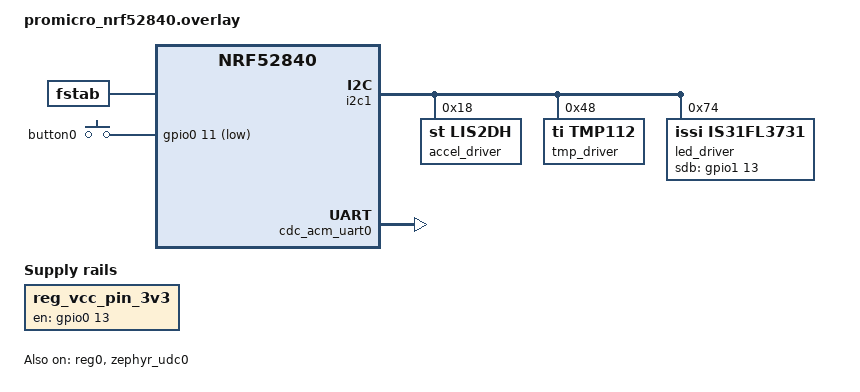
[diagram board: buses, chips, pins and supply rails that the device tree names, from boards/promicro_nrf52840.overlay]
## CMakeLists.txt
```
# Copyright (c) 2026 Golioth, Inc.
#
# SPDX-License-Identifier: Apache-2.0

cmake_minimum_required(VERSION 3.20.0)

# micro-ROS module location: default = the NCS workspace checkout next to
# this app. Set MICROROS_ZEPHYR_MODULE_PATH to the micro_ros_zephyr_module
# ROOT to build against another workspace (e.g. the pure-Zephyr 4.4 one);
# libmicroros (the Zephyr module) is a subdir of the root.
# NOTE: promicro_nrf52840 needs no BOARD_ROOT — upstream Zephyr 4.4
# carries the board at boards/others/promicro_nrf52840.
if(DEFINED ENV{MICROROS_ZEPHYR_MODULE_PATH})
  set(MICROROS_MODULE_ROOT $ENV{MICROROS_ZEPHYR_MODULE_PATH})
else()
  set(MICROROS_MODULE_ROOT ${CMAKE_CURRENT_SOURCE_DIR}/../deps/modules/lib/micro_ros_zephyr_module)
endif()

list(APPEND ZEPHYR_EXTRA_MODULES
  ${CMAKE_CURRENT_SOURCE_DIR}/modules/tikk-led-matrix
  ${MICROROS_MODULE_ROOT}/modules/libmicroros
)

find_package(Zephyr REQUIRED HINTS $ENV{ZEPHYR_BASE})
project(tikk_liquid_microros)

# Zephyr compiles C sources with -std=c17 (strict), under which picolibc
# hides its POSIX surface (clockid_t, the clock_gettime() prototype,
# CLOCK_MONOTONIC) behind feature-test macros. The app's clock shim
# (src/posix_clock.c) and the micro-ROS publisher timestamps (src/main.c)
# need them. Scoped to OUR sources only — this must not leak into other
# modules (mbedtls et al.), which is why the Zephyr-wide POSIX System
# Interfaces routing stays off (see prj.conf).
target_compile_definitions(app PRIVATE
  _POSIX_C_SOURCE=200809L
  _POSIX_MONOTONIC_CLOCK=200809L
)

target_sources(app PRIVATE
  src/main.c
  src/nrf52840_power.c
  src/pouch_setup.c
  src/credentials.c
  src/fw_update.c
  src/posix_clock.c
)
```

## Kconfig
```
# Copyright (c) 2026 Golioth, Inc.
#
# SPDX-License-Identifier: Apache-2.0

mainmenu "Tikk liquid tilt display (micro-ROS)"

# App Kconfig replaces the default root — MUST source Zephyr's chain
# (which also pulls in all module Kconfigs via Kconfig.modules).
source "Kconfig.zephyr"

menu "Tikk liquid tilt display"

config TIKK_TEMP_PUBLISHER
	bool "Publish TMP102 temperature on /temp"
	default y
	help
	  Publishes std_msgs/Float32 (deg C) on /temp at 1 Hz from the
	  TMP102 on the Tikk add-on board. This is the OTA demo's "after"
	  payload: the "before" firmware is built with this OFF, the OTA
	  update delivers a build with it ON.

config EXAMPLE_CREDENTIALS_DIR
	string "Directory containing credentials"
	default "/lfs1/credentials"
	help
	  Directory on mounted file system containing the pouch device
	  certificate (crt.der) and private key (key.der), provisioned via
	  MCUmgr/smpmgr.

endmenu
```

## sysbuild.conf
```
# Enable MCUboot as the bootloader image (sysbuild builds mcuboot + app).
# OTA demo requirement: the app must boot from slot 0 under mcuboot so a
# pouch-delivered image can swap in from slot 1.
SB_CONFIG_BOOTLOADER_MCUBOOT=y
```

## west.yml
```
# NOTE (release prep): this manifest captures the older NCS-based flow
# (nrf v3.0.1). The README documents the current, build-verified pure
# Zephyr 4.4 flow (see "Workspace & build (pure Zephyr 4.4)"). A refreshed
# 4.4 manifest is intentionally left out of the release-prep PR.
#
# Tikk micro-ROS liquid tilt display
#
# Workspace layout mirrors tikk-fleet:
#   ~/golioth/microros/          <- workspace root (.venv, .west, deps/, build/)
#   app/                         <- this repo (the application)
#
# Revisions match tikk-fleet (known-good on this machine):
#   nrf v3.0.1 -> zephyr v4.0.99-ncs1-1 (NCS fork)
#
manifest:
  version: 1.0

  projects:
    - name: nrf
      revision: v3.0.1
      url: https://github.com/nrfconnect/sdk-nrf
      import:
        path-prefix: deps

    - name: is31fl3731
      revision: v1.0.0
      url: git@github.com:golioth/led-driver-is31fl3731.git
      path: deps/modules/lib/is31fl3731

    - name: pixel_font
      revision: f180302aa6199cc4b33b36b7d14b83893ea24898
      url: https://github.com/rzodkiem/Adek_wyswietlacz
      path: deps/modules/lib/pixel_font

    # micro-ROS Zephyr port (kilted branch, tested vs Zephyr 4.0.0/4.1.0)
    - name: micro_ros_zephyr_module
      revision: 229ffc0e131ee7942db3bb2e731fb8851583bb25
      url: https://github.com/micro-ROS/micro_ros_zephyr_module
      path: deps/modules/lib/micro_ros_zephyr_module

    # Golioth pouch — v0.2.0 release (the revision the current Connect
    # Agent pairs with; the old pre-v0.1.0 pin advertised a 128-bit
    # service UUID the v0.2-era gateway does not scan for).
    # NOTE: v0.2.0's own west-ncs.yml pins nrf v3.4-branch, which would
    # conflict with our explicit nrf v3.0.1 above — so NO import here;
    # our nrf project provides the NCS tree. (v0.2.0's "supported" Zephyr
    # is v4.4; we run 4.0.99-ncs1-1 — build-verified empirically.)
    - name: pouch
      revision: v0.2.0
      url: https://github.com/golioth/pouch
      path: deps/modules/lib/pouch
      submodules: true

    # NXP HAL — required to build the pouch gateway sample for
    # frdm_rw612 (the NCS west-ncs.yml import filters hal_nxp out, so it
    # must be explicit). Revision pinned to what our zephyr 4.0.99 expects.
    - name: hal_nxp
      revision: 0ac830233092247c26f5dd01a07b0a484532ea4c
      url: https://github.com/zephyrproject-rtos/hal_nxp
      path: deps/modules/hal/nxp

  self:
    path: app
```

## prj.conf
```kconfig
# Tikk liquid tilt display — lean app (no pouch/BT/mcuboot)
#
# Accel -> wave sim -> LED matrix, plus micro-ROS tilt publisher over USB-CDC.

CONFIG_I2C=y
CONFIG_SENSOR=y
CONFIG_LED=y

CONFIG_TIKK_LED_MATRIX=y

# float printf support for bring-up logs
CONFIG_CBPRINTF_FP_SUPPORT=y

# SPIKE (pouch stage): picolibc instead of newlib — pouch requires picolibc.
# Testing whether libmicroros rebuilds cleanly against it with a fresh
# colcon cache (previous Annex K __errno_t failure may have been stale cache).
CONFIG_PICOLIBC=y

CONFIG_REGULATOR=y

# --- OTA image management (pouch OTA swaps via mcuboot) ---

CONFIG_FLASH=y
CONFIG_FLASH_MAP=y
CONFIG_IMG_MANAGER=y
CONFIG_IMG_ERASE_PROGRESSIVELY=y
CONFIG_STREAM_FLASH=y

# --- Pouch (Golioth over BLE GATT) + OTA ---

CONFIG_BT=y
CONFIG_BT_SMP=y
CONFIG_BT_PERIPHERAL=y
CONFIG_BT_DEVICE_NAME="Tikk micro-ROS"
CONFIG_BT_DEVICE_APPEARANCE=768

CONFIG_BT_BUF_ACL_TX_SIZE=251
CONFIG_BT_BUF_ACL_RX_SIZE=251
CONFIG_BT_L2CAP_TX_MTU=247

# This is needed due to an off-by-one error in Kconfig defaults
CONFIG_BT_CTLR_DATA_LENGTH_MAX=251

CONFIG_BT_RX_STACK_SIZE=4096

CONFIG_MAIN_STACK_SIZE=4096

CONFIG_MBEDTLS_HEAP_SIZE=9192

# This option is implied by BT_SMP and breaks secp384r1 support
CONFIG_MBEDTLS_PSA_P256M_DRIVER_ENABLED=n

# Per pouch v0.2.0 example: allow centrals that lose bond info to
# re-pair (the gateway must be able to pair across device resets/changes)
CONFIG_BT_SMP_ALLOW_UNAUTH_OVERWRITE=y

# Turn off default options to reduce ROM usage
CONFIG_MBEDTLS_PKCS5_C=n

# No MBEDTLS_LEGACY_CRYPTO_C here: that Kconfig is NCS-only (gates the
# legacy crypto API surface in Nordic's fork). Pure Zephyr 4.4 uses
# vanilla mbedtls/tf-psa-crypto, which provides the raw EC APIs that
# pouch v0.2.0's src/cert.c needs (mbedtls_pk_ec et al.) — proven by
# the DK reference build completing its cert upload on 4.4.

CONFIG_LOG=y
CONFIG_ZCBOR=y
CONFIG_REBOOT=y

CONFIG_POUCH=y
CONFIG_POUCH_TRANSPORT_BLE_GATT=y

CONFIG_GOLIOTH=y
CONFIG_GOLIOTH_SETTINGS=y
CONFIG_GOLIOTH_OTA=y

# --- Credentials on LittleFS (provisioned via mcumgr over the console) ---

CONFIG_FLASH_PAGE_LAYOUT=y
CONFIG_FILE_SYSTEM=y
CONFIG_FILE_SYSTEM_LITTLEFS=y

CONFIG_MCUMGR=y
CONFIG_MCUMGR_TRANSPORT_SHELL=y

# The shell SMP transport depends on BASE64 — pouch <= pre-v0.2.0 used to
# 'select BASE64' itself; v0.2.0 dropped that, and without this line the
# whole MCUMGR_TRANSPORT_SHELL block silently vanishes (no 'mcumgr' shell
# command, smpmgr timeouts). Bit us once.
CONFIG_BASE64=y

# fs shell commands (ls/cat) — for inspecting /lfs1 from the console
CONFIG_FILE_SYSTEM_SHELL=y
CONFIG_UART_CONSOLE_MCUMGR=y
CONFIG_CRC=y
CONFIG_MCUMGR_GRP_OS=y
CONFIG_MCUMGR_GRP_OS_MCUMGR_PARAMS=y
CONFIG_MCUMGR_GRP_FS=y
CONFIG_MCUMGR_GRP_FS_FILE_ACCESS_HOOK=y
CONFIG_SHELL=y

# --- micro-ROS over USB CDC ACM ---

CONFIG_MICROROS=y
CONFIG_CPP=y
CONFIG_MICROROS_TRANSPORT_SERIAL_USB=y

# Two publishers: /tilt (10 Hz) and /temp (1 Hz, TMP102). This maps to
# RMW_UXRCE_MAX_PUBLISHERS in the libmicroros colcon build (requires a
# full colcon rebuild when changed — patches 0001/0002 flow handles it).
# NOTE: these MICROROS_* symbols are Kconfig STRINGS — quotes required.
CONFIG_MICROROS_PUBLISHERS="2"

CONFIG_SERIAL=y
CONFIG_UART_INTERRUPT_DRIVEN=y
CONFIG_UART_LINE_CTRL=y

# Let the micro-ROS transport's usb_enable() bring up USB. If USB comes up
# at boot instead, usb_enable() returns -EALREADY and the transport treats
# it as fatal ("Failed to enable USB") and the micro-ROS thread exits.
CONFIG_USB_DEVICE_INITIALIZE_AT_BOOT=n

# Zephyr 4.4 ships the new "device_next" USB stack alongside the legacy
# one. The zephyr,cdc-acm-uart node in the board overlay makes the new
# stack's CDC class default to y, and BOTH stacks then instantiate the
# same devicetree node -> __device_dts_ord_* multiply defined at link.
# The micro-ROS serial-usb transport selects the legacy stack
# (usb_enable() API); keep device_next off.
CONFIG_USB_DEVICE_STACK_NEXT=n

# POSIX_API is deliberately NOT set: with it, <arpa/inet.h> resolves to
# Zephyr's POSIX headers which don't define AF_INET6 without full
# NETWORKING — mbedtls x509 then calls libc inet_pton (unimplemented on
# picolibc) and the link fails. Without POSIX_API, AF_INET6 comes from
# picolibc's headers and mbedtls uses its own software parser. The demo
# app (tikk-pouch-demo) links the same stack with POSIX_API off.
# clock_gettime/CLOCK_REALTIME for the micro-ROS publisher timestamps.
# Zephyr 4.4 re-parented POSIX_TIMERS under the "POSIX System Interfaces"
# umbrella; enabling that routes <time.h>/<unistd.h>/... to Zephyr's
# include/zephyr/posix headers (-I on every TU), which shadow the libc's
# own POSIX declarations and broke the colcon build of rcutils (implicit
# isatty/fork/execvp under gcc >= 14) — the same header-routing family
# as the CONFIG_POSIX_API trap documented below. All POSIX header
# routing stays OFF on 4.4: the app provides the clock functions that
# micro-ROS needs in src/posix_clock.c (mirroring zephyr's own
# lib/posix/options/clock.c on the kernel sys_clock_* API), and
# picolibc's <time.h> supplies the declarations by default.

CONFIG_MAIN_STACK_SIZE=4096
```

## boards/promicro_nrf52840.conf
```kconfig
CONFIG_LOG_BACKEND_UART=y

# Run nrf52840_power.c at init (bumps REGOUT0 to 3.0V when USB powered)
CONFIG_BOARD_EARLY_INIT_HOOK=y

# No bootloader: link app at 0x0 for direct boot (no MBR/MCUboot offset).
# Same as tikk-fleet apps; the default y places app at 0x1000 behind an MBR
# that this build never actually includes.
CONFIG_BOARD_HAS_NRF5_BOOTLOADER=n

# Add-on board VCC rail switch
CONFIG_REGULATOR=y
```

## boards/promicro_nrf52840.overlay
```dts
/*
 * Tikk add-on board hardware (from tikk-fleet tikk-pouch-demo overlay):
 *   - I2C1 on P1.06 (SDA) / P1.04 (SCL)
 *   - LIS2DH accelerometer @ 0x18
 *   - IS31FL3731 LED matrix driver @ 0x74 (SDB pin on P1.13)
 *   - TMP102 temp sensor @ 0x48 (ti,tmp112 driver; the OTA "after" state
 *     publishes its readings on /temp)
 *   - Add-on VCC power rail switch on P0.13 (regulator, on at boot)
 *
 * Stripped vs tikk-pouch-demo: buttons, longpress, littlefs.
 */

/* MCUboot flash layout (64 KB boot; storage kept at 0xf8000 so the
 * provisioned credentials survive a bootloader+app reflash). Shared
 * with sysbuild/mcuboot.overlay so both images agree on the map. The
 * plain (non-sysbuild) build is unaffected: it links at 0x0 and only
 * touches storage_partition, whose address is unchanged. */
#include "../sysbuild/flash-layout.dtsi"

/ {

	reg_vcc_pin_3v3: reg-vcc-pin-3v3 {
		compatible = "regulator-fixed";
		regulator-name = "reg-vcc-pin-3v3";
		enable-gpios = <&gpio0 13 GPIO_ACTIVE_HIGH>;
		regulator-boot-on;
	};

	fstab {
		compatible = "zephyr,fstab";
		lfs1: lfs1 {
			compatible = "zephyr,fstab,littlefs";
			mount-point = "/lfs1";
			partition = <&storage_partition>;
			automount;
			read-size = <16>;
			prog-size = <16>;
			cache-size = <64>;
			lookahead-size = <32>;
			block-cycles = <512>;
		};
	};

	buttons {
		compatible = "gpio-keys";

		button0: button_0 {
			gpios = <&gpio0 11 (GPIO_PULL_UP | GPIO_ACTIVE_LOW)>;
			zephyr,code = <INPUT_KEY_0>;
		};
	};

	aliases {
		sw0 = &button0;
	};
};

&reg0 {
	status = "okay";
};

&i2c0 {
	status = "disabled";
};

&i2c1 {
	status = "okay";

	accel_driver: lis2dh@18 {
		compatible = "st,lis2dh";
		reg = <0x18>;
	};

	tmp_driver: tmp102@48 {
		compatible = "ti,tmp112";
		reg = <0x48>;
	};

	led_driver: is31fl3731@74 {
		compatible = "issi,is31fl3731";
		reg = <0x74>;
		sdb-gpios = <&gpio1 13 GPIO_ACTIVE_HIGH>;
	};
};

&pinctrl {
	i2c1_default: i2c1_default {
		group1 {
			psels = <NRF_PSEL(TWIM_SDA, 1, 6)>,
				<NRF_PSEL(TWIM_SCL, 1, 4)>;
			bias-pull-up;
		};
	};

	i2c1_sleep: i2c1_sleep {
		group1 {
			psels = <NRF_PSEL(TWIM_SDA, 1, 6)>,
				<NRF_PSEL(TWIM_SCL, 1, 4)>;
			low-power-enable;
		};
	};
};

/* USB device (nRF52 USBD) for the micro-ROS CDC ACM transport */
&zephyr_udc0 {
	status = "okay";

	cdc_acm_uart0: cdc_acm_uart0 {
		compatible = "zephyr,cdc-acm-uart";
		label = "CDC_ACM_0";
	};
};
```

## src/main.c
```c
/*
 * Tikk liquid tilt display
 *
 * LIS2DH tilt drives a top-down "pool" of liquid on the 9x16 IS31FL3731
 * LED matrix. The wave height field is pulled toward a tilt-defined
 * equilibrium plane, so the water pools toward the low side, sloshes on
 * fast tilts, and settles calm when the board is flat (with a gentle
 * ambient shimmer — binary displays do sparkle, not brightness).
 *
 * Single-threaded by design (micro-ROS publisher thread runs separately).
 */

#include <zephyr/kernel.h>
#include <zephyr/device.h>
#include <zephyr/drivers/sensor.h>
#include <zephyr/sys/printk.h>

#include "tikk_led_matrix.h"

#include "fw_update.h"

#ifdef CONFIG_MICROROS
#include <version.h>
#if ZEPHYR_VERSION_CODE >= ZEPHYR_VERSION(4, 4, 0)
/* Zephyr 4.4 renamed <zephyr/posix/time.h> -> <zephyr/posix/posix_time.h>.
 * picolibc's <time.h> (SDK 1.0.1) exposes clock_gettime + CLOCK_REALTIME
 * under its default visibility; the implementation lives in
 * src/posix_clock.c (see prj.conf: no POSIX header routing on 4.4). */
#include <time.h>
#else
#include <zephyr/posix/time.h> /* clock_gettime + CLOCK_REALTIME (picolibc's
				* <time.h> hides POSIX names without
				* _POSIX_C_SOURCE, which we no longer set) */
#endif
#include <rcl/rcl.h>
#include <rcl/error_handling.h>
#include <rclc/rclc.h>
#include <rclc/executor.h>
#include <rmw_microros/rmw_microros.h>
#include <microros_transports.h>
#include <geometry_msgs/msg/vector3_stamped.h>
#include <std_msgs/msg/float32.h>

#define MICROROS_PUBLISH_MS 100 /* 10 Hz */
#define MICROROS_THREAD_STACK 24576
#define MICROROS_THREAD_PRIO 5
#endif

/* Sim grid = the PHYSICAL display: 7x15 of the IS31FL3731's 9x16 matrix
 * is populated (rows 0-6, cols 0-14). Simulating the full 9x16 put water
 * and meniscus in invisible regions. */
#define W 15
#define H 7

#define TICK_MS 50 /* 20 Hz display/sim rate */

/* Liquid tuning */
#define WAVE_K 0.00f      /* propagation stiffness — 0: no traveling waves */
#define WAVE_DAMP 0.80f   /* velocity RETENTION per tick — lower = settles
			  * faster, no ringing (0.97 rang for ~2s) */
#define PLANE_PULL 0.18f  /* how hard water is pulled toward the tilted plane */
#define PLANE_SCALE 0.35f /* floor tilt: full 1g => this much drop per cell */
#define SURF_THRESH 0.15f /* LED on when water depth above this */
#define WATER_LEVEL 0.13f /* TOTAL water volume = this x cell count. Flat =>
			  * uniform film everywhere; long side => ~2-row
			  * pool at the low edge (volume-conserving fill) */
#define WALL_CLING 0.35f  /* meniscus: how strongly water hugs edges/corners */
#define SHIMMER_PER_TICK 0   /* off: shimmer was a constant agitation source */
#define SHIMMER_AMP 0.04f    /* tiny — just enough to glimmer at rest */

/* Orientation mapping — flip signs at bring-up if water pools the wrong way */
#define AX_SIGN (-1.0f)
#define AY_SIGN (-1.0f)

/* Tilt low-pass: raw accel noise would jiggle the equilibrium plane and
 * keep the water perpetually agitated. Filter it. */
#define TILT_LP 0.3f

static float h[H][W];
static float v[H][W];

static const struct device *const accel = DEVICE_DT_GET_ANY(st_lis2dh);
static const struct device *const leds = DEVICE_DT_GET_ANY(issi_is31fl3731);

/* Latest filtered accel sample, shared with the micro-ROS publisher thread.
 * Torn reads are harmless for telemetry (values are low-passed already). */
static struct {
	float x;
	float y;
	float z;
} latest_accel;

#ifdef CONFIG_MICROROS
static rcl_publisher_t tilt_pub;
static geometry_msgs__msg__Vector3Stamped tilt_msg;

#ifdef CONFIG_TIKK_TEMP_PUBLISHER
/* TMP102 on the Tikk add-on (0x48, ti,tmp112 driver) — the OTA "after"
 * payload: readings published on /temp at 1 Hz. */
static const struct device *const tmp102 = DEVICE_DT_GET_ANY(ti_tmp112);
static rcl_publisher_t temp_pub;
static std_msgs__msg__Float32 temp_msg;
static uint32_t temp_div;
static bool temp_announced;

/* One-shot diagnostics — a permanently failing temp path must not be
 * silent (cost an hour of head-scratching once already). */
#define TEMP_ERR(msg)                                    \
	do {                                             \
		if (!temp_err_shown) {                   \
			printk("temp: " msg "\n");       \
			temp_err_shown = true;           \
		}                                        \
	} while (0)
static bool temp_err_shown;

static void publish_temp(void)
{
	struct sensor_value val;

	if (tmp102 == NULL || !device_is_ready(tmp102)) {
		TEMP_ERR("TMP102 not ready");
		return;
	}
	if (sensor_sample_fetch(tmp102) != 0) {
		TEMP_ERR("TMP102 sample fetch failed");
		return;
	}
	/* tmp112 driver exposes AMBIENT_TEMP (not DIE_TEMP) */
	if (sensor_channel_get(tmp102, SENSOR_CHAN_AMBIENT_TEMP, &val) != 0) {
		TEMP_ERR("TMP102 channel get failed");
		return;
	}
	temp_msg.data = (float)sensor_value_to_double(&val);
	rcl_publish(&temp_pub, &temp_msg, NULL);
	if (!temp_announced) {
		printk("TMP102 online: %.2f C\n", (double)temp_msg.data);
		temp_announced = true;
	}
}
#endif /* CONFIG_TIKK_TEMP_PUBLISHER */

static void tilt_timer_callback(rcl_timer_t *timer, int64_t last_call_time)
{
	RCLC_UNUSED(last_call_time);
	if (timer == NULL) {
		return;
	}

	/* While an OTA image downloads, fw_update owns the LED matrix
	 * (progress bar) and publishing stands down — CPU for the flash
	 * writes, plus a cleaner demo story. The timer keeps firing, so
	 * /tilt + /temp resume on their own when the download ends. */
	if (fw_downloading) {
		return;
	}

	struct timespec ts;
	clock_gettime(CLOCK_REALTIME, &ts);
	tilt_msg.header.stamp.sec = ts.tv_sec;
	tilt_msg.header.stamp.nanosec = ts.tv_nsec;
	tilt_msg.vector.x = latest_accel.x;
	tilt_msg.vector.y = latest_accel.y;
	tilt_msg.vector.z = latest_accel.z;

	rcl_publish(&tilt_pub, &tilt_msg, NULL);

#ifdef CONFIG_TIKK_TEMP_PUBLISHER
	/* /temp at 1 Hz (every 10th 10 Hz tick) */
	if (++temp_div >= 10) {
		temp_div = 0;
		publish_temp();
	}
#endif
}

#define RCCHECK(fn)                                                                        \
	{                                                                                  \
		rcl_ret_t rc = fn;                                                         \
		if (rc != RCL_RET_OK) {                                                    \
			printk("micro-ROS error %d at line %d\n", (int)rc, __LINE__);      \
			return;                                                            \
		}                                                                          \
	}

static void microros_thread(void)
{
	zephyr_transport_params_t transport_params = {0};

	printk("micro-ROS: connecting (plug in agent / open serial port)\n");

	rmw_uros_set_custom_transport(
		MICRO_ROS_FRAMING_REQUIRED,
		(void *)&transport_params,
		zephyr_transport_open,
		zephyr_transport_close,
		zephyr_transport_write,
		zephyr_transport_read);

	rcl_allocator_t allocator = rcl_get_default_allocator();
	rclc_support_t support;
	RCCHECK(rclc_support_init(&support, 0, NULL, &allocator));

	rcl_node_t node;
	RCCHECK(rclc_node_init_default(&node, "tikk_tilt", "", &support));

	RCCHECK(rclc_publisher_init_default(
		&tilt_pub,
		&node,
		ROSIDL_GET_MSG_TYPE_SUPPORT(geometry_msgs, msg, Vector3Stamped),
		"tilt"));

#ifdef CONFIG_TIKK_TEMP_PUBLISHER
	RCCHECK(rclc_publisher_init_default(
		&temp_pub,
		&node,
		ROSIDL_GET_MSG_TYPE_SUPPORT(std_msgs, msg, Float32),
		"temp"));
#endif

	rcl_timer_t timer;
	RCCHECK(rclc_timer_init_default(&timer, &support,
					RCL_MS_TO_NS(MICROROS_PUBLISH_MS),
					tilt_timer_callback));

	rclc_executor_t executor;
	RCCHECK(rclc_executor_init(&executor, &support.context, 1, &allocator));
	RCCHECK(rclc_executor_add_timer(&executor, &timer));

	printk("micro-ROS: publishing /tilt at %d ms\n", MICROROS_PUBLISH_MS);

	while (true) {
		rclc_executor_spin_some(&executor, RCL_MS_TO_NS(100));
		k_msleep(10);
	}
}

K_THREAD_DEFINE(microros_tid, MICROROS_THREAD_STACK,
		microros_thread, NULL, NULL, NULL,
		MICROROS_THREAD_PRIO, 0, 0);
#endif /* CONFIG_MICROROS */

static inline float clampf(float val, float lo, float hi)
{
	return val < lo ? lo : (val > hi ? hi : val);
}

/* cheap xorshift for ambient shimmer */
static uint32_t rng_state = 0x1234abcd;
static inline uint32_t rng_next(void)
{
	rng_state ^= rng_state << 13;
	rng_state ^= rng_state >> 17;
	rng_state ^= rng_state << 5;
	return rng_state;
}

static void ripple_at(int x, int y, float amp)
{
	if (x < 0 || x >= W || y < 0 || y >= H) {
		return;
	}
	v[y][x] -= amp;
}

/* tray floor heights + scratch buffer for the per-tick water-fill */
static float floors[H][W];
static float sorted_floors[H * W];

static void wave_step(float gx, float gy)
{
	/* Volume-conserving liquid: the tray floor tilts with gravity and a
	 * FIXED volume of water fills the lowest cells first (water-fill).
	 * Flat => uniform film covering the display; on its side => the same
	 * water pools at the low edge — pool size is set by WATER_LEVEL
	 * (total volume), not by tilt amount. */
	const float volume = (float)(W * H) * WATER_LEVEL;
	int count = 0;

	for (int y = 0; y < H; y++) {
		for (int x = 0; x < W; x++) {
			float dx = x - (W - 1) / 2.0f;
			float dy = y - (H - 1) / 2.0f;
			floors[y][x] = -PLANE_SCALE * (gx * dx + gy * dy);
			sorted_floors[count++] = floors[y][x];
		}
	}

	/* insertion sort ascending (105 cells at 20 Hz — trivial) */
	for (int i = 1; i < count; i++) {
		float key = sorted_floors[i];
		int j = i - 1;
		while (j >= 0 && sorted_floors[j] > key) {
			sorted_floors[j + 1] = sorted_floors[j];
			j--;
		}
		sorted_floors[j + 1] = key;
	}

	/* water-fill: raise the surface over the lowest cells until the fixed
	 * volume is used up; everything above the level stays dry */
	float cum = sorted_floors[0];
	float level = volume + cum;
	int k = 0;
	while (k < count - 1 && level > sorted_floors[k + 1]) {
		k++;
		cum += sorted_floors[k];
		level = (volume + cum) / (float)(k + 1);
	}

	/* relax toward (fill depth + meniscus), with momentum for slosh */
	for (int y = 0; y < H; y++) {
		for (int x = 0; x < W; x++) {
			float neigh = 0.0f;
			int c = 0;

			if (x > 0) { neigh += h[y][x - 1]; c++; }
			if (x < W - 1) { neigh += h[y][x + 1]; c++; }
			if (y > 0) { neigh += h[y - 1][x]; c++; }
			if (y < H - 1) { neigh += h[y + 1][x]; c++; }

			float lap = (neigh / (float)c) - h[y][x];

			float depth = level - floors[y][x];
			if (depth < 0.0f) {
				depth = 0.0f;
			}

			/* meniscus: water clings to tray walls — but only where
			 * water exists. Gated by the cell's own depth so dry
			 * border cells don't light as a phantom frame (ungated
			 * cling put a permanent 2-LED border around the display).
			 * At the waterline the gate ramps 0..1 over 0.10 depth,
			 * giving the concave corner climb where water is. */
			int d = x;
			if (W - 1 - x < d) { d = W - 1 - x; }
			if (y < d) { d = y; }
			if (H - 1 - y < d) { d = H - 1 - y; }
			float gate = depth * 10.0f;
			if (gate > 1.0f) {
				gate = 1.0f;
			}
			float eq = depth + gate * WALL_CLING / (1.0f + (float)d);

			v[y][x] = (v[y][x] + WAVE_K * lap + PLANE_PULL * (eq - h[y][x]))
				  * WAVE_DAMP;
		}
	}

	/* height update */
	for (int y = 0; y < H; y++) {
		for (int x = 0; x < W; x++) {
			h[y][x] += v[y][x];
		}
	}
}

static void render(void)
{
	/* full 9-row controller buffer; physical rows 7-8 left off */
	uint16_t fb9[9] = {0};

	for (int y = 0; y < H; y++) {
		for (int x = 0; x < W; x++) {
			if (h[y][x] > SURF_THRESH) {
				fb9[y] |= (uint16_t)(1 << x);
			}
		}
	}

	display_framebuffer(leds, fb9);
}

static int tick(void)
{
	static unsigned int ticks;
	struct sensor_value a[3];

	if (sensor_sample_fetch(accel) < 0) {
		return -EIO;
	}
	if (sensor_channel_get(accel, SENSOR_CHAN_ACCEL_XYZ, a) < 0) {
		return -EIO;
	}

	double ax = sensor_value_to_double(&a[0]);
	double ay = sensor_value_to_double(&a[1]);
	double az = sensor_value_to_double(&a[2]);

	latest_accel.x = (float)ax;
	latest_accel.y = (float)ay;
	latest_accel.z = (float)az;

	/* tilt direction -> slope of the equilibrium water plane (filtered:
	 * raw sensor noise never stops agitating the water) */
	static float fgx, fgy;
	float gx = clampf(AX_SIGN * (float)(ax / 9.81), -1.0f, 1.0f);
	float gy = clampf(AY_SIGN * (float)(ay / 9.81), -1.0f, 1.0f);
	fgx += (gx - fgx) * TILT_LP;
	fgy += (gy - fgy) * TILT_LP;

	wave_step(fgx, fgy);
	render();

	if ((ticks % 100) == 0) {
		printk("tick %u: gx=%.2f gy=%.2f ax=%.2f ay=%.2f\n",
		       ticks, gx, gy, ax, ay);
	}
	ticks++;

	return 0;
}

int main(void)
{
	printk("Tikk liquid tilt display\n");

	if ((accel == NULL) || !device_is_ready(accel)) {
		printk("LIS2DH not ready\n");
		return 0;
	}
	if ((leds == NULL) || !device_is_ready(leds)) {
		printk("IS31FL3731 not ready\n");
		return 0;
	}

	display_clear(leds);
	printk("sensors ready, starting sim (%d ms tick)\n", TICK_MS);

	/* Firmware version on the matrix at boot — the same "vX.Y.Z"
	 * scroll the tikk-fleet demo showed (led_message("v" ...) there).
	 * FW_VERSION_STRING is the OTA identity reported to the cloud, so
	 * the boot screen says which half of the demo pair is running
	 * (0.1.2 before / 0.2.2 after). Blocking ~3 s, like the fleet demo. */
	scroll_message(leds, "v" FW_VERSION_STRING, 40);

	while (true) {
		/* fw_update owns the LED matrix during an OTA download —
		 * stand the liquid sim down until it finishes. */
		if (fw_downloading) {
			k_msleep(TICK_MS);
			continue;
		}
		if (tick() < 0) {
			printk("sensor fetch failed\n");
		}
		k_msleep(TICK_MS);
	}

	return 0;
}
```

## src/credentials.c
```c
/*
 * Copyright (c) 2025 Golioth, Inc.
 *
 * SPDX-License-Identifier: Apache-2.0
 *
 * Ported verbatim from tikk-fleet/app/tikk-pouch-demo — loads the device
 * certificate and private key from LittleFS (provisioned via MCUmgr/smpmgr
 * to /lfs1/credentials/) and imports them for pouch.
 */
#include <stdlib.h>
#include <zephyr/fs/fs.h>
#include <pouch/pouch.h>
#include <mbedtls/pk.h>

#include <zephyr/logging/log.h>
LOG_MODULE_REGISTER(credentials);

#define CERT_DIR CONFIG_EXAMPLE_CREDENTIALS_DIR
#define CERT_FILE CERT_DIR "/crt.der"
#define KEY_FILE CERT_DIR "/key.der"

/* mbedtls 4.x (pure-Zephyr 4.4 workspace) is backed by tf-psa-crypto,
 * which dropped the f_rng/p_rng parameters from mbedtls_pk_parse_key()
 * — PSA crypto handles the RNG internally. NCS v3.0.1 (mbedtls 3.x)
 * still needs them. The tf-psa-crypto build_info (pulled in by pk.h)
 * defines TF_PSA_CRYPTO_VERSION_MAJOR; mbedtls 3.x headers never do. */
#if !defined(TF_PSA_CRYPTO_VERSION_MAJOR)
static int psa_rng_for_mbedtls(void *p_rng, unsigned char *output, size_t output_len)
{
    return psa_generate_random(output, output_len);
}
#endif

/** Load the raw private key data into PSA */
static psa_key_id_t import_raw_pk(const uint8_t *private_key, size_t size)
{
    mbedtls_pk_context pk;
    mbedtls_pk_init(&pk);
#if !defined(TF_PSA_CRYPTO_VERSION_MAJOR)
    int err = mbedtls_pk_parse_key(&pk, private_key, size, NULL, 0, psa_rng_for_mbedtls, NULL);
#else
    int err = mbedtls_pk_parse_key(&pk, private_key, size, NULL, 0);
#endif
    if (err)
    {
        LOG_ERR("Failed to parse key: -0x%x", -err);
        return PSA_KEY_ID_NULL;
    }

    psa_key_attributes_t attrs = PSA_KEY_ATTRIBUTES_INIT;

    psa_set_key_algorithm(&attrs, PSA_ALG_ECDH);
    psa_set_key_type(&attrs, PSA_KEY_TYPE_ECC_KEY_PAIR(PSA_ECC_FAMILY_SECP_R1));
    psa_set_key_usage_flags(&attrs, PSA_KEY_USAGE_DERIVE);

    psa_key_id_t key_id;
    err = mbedtls_pk_import_into_psa(&pk, &attrs, &key_id);
    if (err)
    {
        LOG_ERR("Failed to import private key: -0x%x", -err);
        return PSA_KEY_ID_NULL;
    }

    return key_id;
}

static void ensure_credentials_dir(void)
{
    struct fs_dirent dirent;

    int err = fs_stat(CERT_DIR, &dirent);
    if (err == -ENOENT)
    {
        err = fs_mkdir(CERT_DIR);
    }

    if (err)
    {
        LOG_ERR("Failed to create credentials dir: %d", err);
    }
}

static ssize_t get_file_size(const char *path)
{
    struct fs_dirent dirent;

    int err = fs_stat(path, &dirent);

    if (err < 0)
    {
        return err;
    }
    if (dirent.type != FS_DIR_ENTRY_FILE)
    {
        return -EISDIR;
    }

    return dirent.size;
}

static ssize_t read_file(const char *path, uint8_t **out)
{
    /* Ensure that the credentials directory exists, so the user doesn't have to */
    ensure_credentials_dir();

    ssize_t size = get_file_size(path);
    if (size <= 0)
    {
        return size;
    }

    uint8_t *buf = malloc(size);
    if (buf == NULL)
    {
        return -ENOMEM;
    }

    struct fs_file_t file;
    fs_file_t_init(&file);

    int err = fs_open(&file, path, FS_O_READ);
    if (err)
    {
        LOG_ERR("Could not open %s, err: %d", path, err);
        free(buf);
        return err;
    }

    size = fs_read(&file, buf, size);
    if (size < 0)
    {
        LOG_ERR("Could not read %s, err: %d", path, size);
        free(buf);
        goto finish;
    }

    LOG_DBG("Read %d bytes from %s", size, path);

    *out = buf;

finish:
    fs_close(&file);
    return size;
}

psa_key_id_t load_private_key(void)
{
    uint8_t *buf;
    ssize_t size = read_file(KEY_FILE, &buf);
    if (size < 0)
    {
        return PSA_KEY_ID_NULL;
    }

    psa_key_id_t key_id = import_raw_pk(buf, size);
    free(buf);
    return key_id;
}

int load_certificate(struct pouch_cert *cert)
{
    uint8_t *buf;
    ssize_t size = read_file(CERT_FILE, &buf);
    if (size < 0)
    {
        return size;
    }

    cert->buffer = buf;
    cert->size = size;

    LOG_DBG("Read certificate (%d bytes)", size);

    return 0;
}

void free_certificate(struct pouch_cert *cert)
{
    free((void *) cert->buffer);
}
```

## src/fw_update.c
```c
/*
 * Copyright (c) 2026 Golioth, Inc.
 *
 * SPDX-License-Identifier: Apache-2.0
 *
 * Golioth OTA over pouch: receives the manifest + image, writes to the
 * mcuboot secondary slot, requests the swap, reboots. Slimmed from
 * tikk-fleet/app/tikk-pouch-demo/src/fw_update.c (LED progress calls
 * removed — log only).
 */

#include <zephyr/logging/log.h>
LOG_MODULE_REGISTER(fw_update, LOG_LEVEL_INF);

#include <zephyr/kernel.h>
#include <zephyr/dfu/flash_img.h>
#include <zephyr/dfu/mcuboot.h>
#include <zephyr/logging/log_ctrl.h>
#include <zephyr/storage/flash_map.h>
#include <zephyr/sys/reboot.h>

#include <golioth/ota.h>

#include <app_version.h>

#include <stdio.h>

#include <zephyr/device.h>

#include "fw_update.h"
#include "tikk_led_matrix.h"

/* FW_VERSION_STRING lives in fw_update.h — shared with main.c, which
 * scrolls it on the LED matrix at boot. */

/* Set while image blocks are being written: the liquid sim and the
 * micro-ROS publishers stand down (fw_downloading, see main.c), and the
 * LED matrix shows the download progress bar (check_progress). */
volatile bool fw_downloading;
volatile bool fw_download_pending;

static const struct device *const leds = DEVICE_DT_GET_ANY(issi_is31fl3731);

/* OTA text brightness: brighter than the liquid display (10) so the
 * update is obvious on camera during the demo. */
#define OTA_TEXT_BRIGHTNESS 50

/* Last % shown on the bar; file-scope so it resets cleanly per download. */
static uint8_t ota_last_pct = 255;

static uint32_t fw_size = 1;
static struct flash_img_context flash_context;
static bool download_started;

static void check_progress(uint32_t offset)
{
    uint8_t pct = (offset * 100U) / fw_size;
    if (pct > 100)
    {
        pct = 100;
    }

    if (pct != ota_last_pct)
    {
        LOG_INF("OTA progress: %u%%", pct);
        /* The % AS TEXT on the LED matrix — digits ticking up (" 5%",
         * "50%", "99%") is the demo's "watch it download" moment. The
         * %-glyph's rightmost columns clip off the 15-column display
         * (known geometry — matches the tikk-fleet demo's look).
         * Non-blocking. */
        char pct_str[8];
        snprintf(pct_str, sizeof(pct_str), "%2u%%", pct);
        display_text(leds, pct_str, OTA_TEXT_BRIGHTNESS);
        ota_last_pct = pct;
    }
}

static void ota_main_receive(const void *data, size_t offset, size_t len, bool is_last)
{
    LOG_DBG("Received %d bytes at offset %d", len, offset);

    int err = 0;
    if (!download_started)
    {
        download_started = true;
        fw_downloading = true;
        ota_last_pct = 255;
        display_text(leds, " 0%", OTA_TEXT_BRIGHTNESS);
        LOG_INF("Firmware download started");
    }
    if (0 == offset)
    {
        err = flash_img_init(&flash_context);
        if (err)
        {
            LOG_ERR("Failed to init flash write");
            return;
        }
        /* A retry restarts the image from offset 0 — restart the
         * display too, or it freezes at the stale % until the new pass
         * overtakes the old high-water mark (mid-download BLE drops
         * followed by auto-resync hit exactly this path). */
        ota_last_pct = 255;
    }

    check_progress((uint32_t)offset);

    err = flash_img_buffered_write(&flash_context, data, len, is_last);
    if (err)
    {
        LOG_ERR("Failed to write to flash: %d", err);
        return;
    }

    if (is_last)
    {
        LOG_INF("Image written; rebooting to apply upgrade");

        err = boot_request_upgrade(BOOT_SWAP_TYPE_TEST);
        if (err)
        {
            fw_downloading = false;
            fw_download_pending = false;
            LOG_ERR("Failed to request upgrade");
            return;
        }

#if IS_ENABLED(CONFIG_LOG)
        while (log_process())
        {
        }
#endif
        /* Checkmark flourish on the matrix (1 s, self-clears). Hold
         * fw_downloading through it so the liquid sim does not reclaim
         * the matrix within one 50 ms tick and erase the checkmark
         * before anyone sees it. */
        display_sent_pattern(leds, OTA_TEXT_BRIGHTNESS);
        fw_downloading = false;
        fw_download_pending = false;
        k_sleep(K_SECONDS(1));
        sys_reboot(SYS_REBOOT_WARM);
    }
}

static void ota_manifest_receive(const struct golioth_ota_manifest_component *components,
                                 size_t num_components)
{
    for (int i = 0; i < num_components; i++)
    {
        fw_size = components[i].size;
        LOG_INF("OTA manifest: %s@%s, %u bytes (running " FW_VERSION_STRING ")",
                components[i].name, components[i].target, fw_size);
        if (0 != strcmp(components[i].current, components[i].target))
        {
            LOG_INF("Marking %s for download", components[i].name);
            golioth_ota_mark_for_download(components[i].name);
            /* The data arrives in the NEXT session — pouch_setup
             * re-arms the sync flag (see fw_download_pending) so the
             * gateway reconnects without a second button press, and
             * retries automatically if the link drops mid-download. */
            fw_download_pending = true;
        }
        else
        {
            LOG_INF("Already running target version — no update needed");
        }
    }

    download_started = false;
}

GOLIOTH_OTA_COMPONENT(main, "main", FW_VERSION_STRING, ota_main_receive);
GOLIOTH_OTA_MANIFEST_HANDLER(ota_manifest_receive);
```

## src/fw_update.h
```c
/*
 * Copyright (c) 2026 Golioth, Inc.
 *
 * SPDX-License-Identifier: Apache-2.0
 *
 * Shared OTA state. fw_update.c owns the LED matrix while an image
 * download is in flight (progress bar + completion checkmark), and the
 * liquid sim + micro-ROS publishers stand down until it finishes —
 * CPU headroom for the flash writes, and a cleaner demo story.
 */

#pragma once

#include <stdbool.h>

#include <app_version.h>

/* OTA version identity for the demo pair: the "before" build (temp
 * publisher off) reports 0.1.2 so the Golioth release for 0.2.2 triggers
 * the update; the "after" build reports the VERSION-file string.
 * The same string is shown on the LED matrix at boot ("vX.Y.Z" scroll,
 * like the tikk-fleet demo) so the screen tells you which half of the
 * pair is running. */
#ifdef CONFIG_TIKK_TEMP_PUBLISHER
#define FW_VERSION_STRING APP_VERSION_STRING
#else
#define FW_VERSION_STRING "0.1.2"
#endif

/* True while an OTA image download is being written to the mcuboot
 * secondary slot. Volatile: written from the pouch downlink path,
 * read from the main sim loop and the micro-ROS publish timer. */
extern volatile bool fw_downloading;

/* True between "marked for download" (manifest) and download end.
 * pouch_setup watches it to re-arm the sync flag on BLE disconnect, so
 * a dropped link mid-download retries automatically instead of hanging
 * until a human resets the board. */
extern volatile bool fw_download_pending;
```

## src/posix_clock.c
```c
/*
 * POSIX clock surface for the pure-Zephyr 4.4 build.
 *
 * Zephyr 4.4 re-parented CONFIG_POSIX_TIMERS under the
 * CONFIG_POSIX_SYSTEM_INTERFACES umbrella, which routes <time.h>/
 * <unistd.h>/... to Zephyr's include/zephyr/posix/ headers app-wide
 * (-I include/zephyr/posix on every TU). That shadows the libc's own
 * POSIX declarations and broke the colcon build of rcutils (implicit
 * isatty/fork/execvp declarations under gcc >= 14) — the same
 * header-routing family of problems that CONFIG_POSIX_API caused on
 * NCS (see prj.conf). The app keeps all POSIX header routing OFF and
 * instead provides the handful of clock functions that micro-ROS
 * actually needs, mirroring zephyr/lib/posix/options/clock.c
 * (Copyright (c) 2018 Intel Corporation; Apache-2.0, Zephyr
 * contributors) on top of the always-compiled kernel sys_clock_* API
 * (lib/os/clock.c).
 *
 * picolibc's <time.h> declares all of these (default visibility); it
 * just does not define them.
 */

#include <errno.h>
#include <time.h>

#include <sys/types.h> /* useconds_t (not pulled in by <time.h>) */

#include <zephyr/kernel.h>
#include <zephyr/sys/clock.h>

/*
 * Map picolibc's CLOCK_* values to Zephyr's SYS_CLOCK_* ids directly.
 * Do NOT use sys_clock_from_clockid(): its CLOCK_MONOTONIC case only
 * compiles when _POSIX_MONOTONIC_CLOCK is defined at KERNEL build time
 * (lib/os/clock.c), which is not the case with the POSIX System
 * Interfaces off — with the gated helper, rcutils_steady_time_now
 * (CLOCK_MONOTONIC, used by rclc's RCL_STEADY_TIME support clock) got
 * -EINVAL back and rcl_timer_init failed with RCL_RET_ERROR.
 * SYS_CLOCK_REALTIME / SYS_CLOCK_MONOTONIC are always available from
 * <zephyr/sys/clock.h>; the picolibc CLOCK_* macros are visible in this
 * TU thanks to the app-scoped feature macros (see CMakeLists.txt).
 */
static int zephyr_clockid(clockid_t clock_id)
{
	switch ((int)clock_id) {
	case CLOCK_REALTIME:
		return SYS_CLOCK_REALTIME;
	case CLOCK_MONOTONIC:
		return SYS_CLOCK_MONOTONIC;
	default:
		return -EINVAL;
	}
}

int clock_gettime(clockid_t clock_id, struct timespec *ts)
{
	int ret = sys_clock_gettime(zephyr_clockid(clock_id), ts);

	if (ret < 0) {
		errno = -ret;
		return -1;
	}

	return 0;
}

int clock_getres(clockid_t clock_id, struct timespec *res)
{
	BUILD_ASSERT(CONFIG_SYS_CLOCK_TICKS_PER_SEC > 0 &&
		     CONFIG_SYS_CLOCK_TICKS_PER_SEC <= NSEC_PER_SEC,
		     "CONFIG_SYS_CLOCK_TICKS_PER_SEC must be > 0 and <= NSEC_PER_SEC");

	if (!(clock_id == CLOCK_MONOTONIC || clock_id == CLOCK_REALTIME)) {
		errno = EINVAL;
		return -1;
	}

	if (res != NULL) {
		*res = (struct timespec){
			.tv_sec = 0,
			.tv_nsec = NSEC_PER_SEC / CONFIG_SYS_CLOCK_TICKS_PER_SEC,
		};
	}

	return 0;
}

int clock_settime(clockid_t clock_id, const struct timespec *tp)
{
	int ret = sys_clock_settime(zephyr_clockid(clock_id), tp);

	if (ret < 0) {
		errno = -ret;
		return -1;
	}

	return 0;
}

/*
 * usleep() was removed in POSIX Issue 7; kept for compatibility.
 */
int usleep(useconds_t useconds)
{
	int32_t rem;

	if (useconds >= USEC_PER_SEC) {
		errno = EINVAL;
		return -1;
	}

	rem = k_usleep(useconds);
	__ASSERT_NO_MSG(rem >= 0);
	if (rem > 0) {
		/* sleep was interrupted by a call to k_wakeup() */
		errno = EINTR;
		return -1;
	}

	return 0;
}

int nanosleep(const struct timespec *rqtp, struct timespec *rmtp)
{
	int ret = sys_clock_nanosleep(SYS_CLOCK_REALTIME, 0, rqtp, rmtp);

	if (ret < 0) {
		errno = -ret;
		return -1;
	}

	return 0;
}
```
